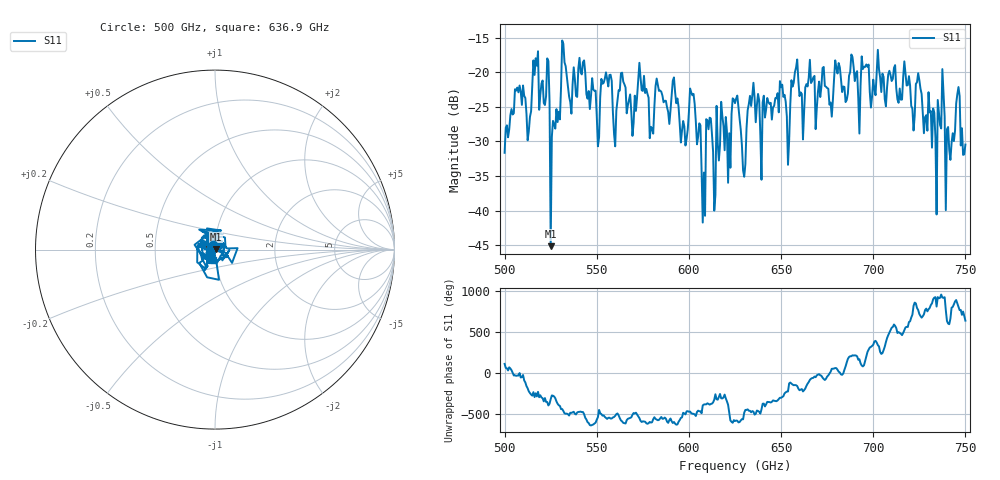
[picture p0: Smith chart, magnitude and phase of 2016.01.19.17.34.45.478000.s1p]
!Created with skrf (http://scikit-rf.org).
# GHz S RI R 50.0
!freq ReS11 ImS11
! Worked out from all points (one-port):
!   401 points, 500 GHz to 750 GHz, reference 50 ohm
!   lowest |S11| = -45.1 dB at 525 GHz (marker M1), VSWR 1.01, Z = 50.4 + j0.352 ohm
!   |S11| at or under -10 dB: start of sweep to end of sweep
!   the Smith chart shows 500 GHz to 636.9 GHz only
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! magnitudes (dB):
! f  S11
! 500 GHz  -31.6
! 506.9 GHz  -22.2
! 513.1 GHz  -28.5
! 516.9 GHz  -18.0
! 523.1 GHz  -18.0
! 525 GHz  -45.1
! 531.2 GHz  -15.4
! 550.6 GHz  -30.7
! 562.5 GHz  -22.7
! 593.8 GHz  -23.8
! 598.1 GHz  -30.6
! 601.9 GHz  -23.3
! 607.5 GHz  -41.7
! 610.6 GHz  -28.2
! 615 GHz  -24.9
! 625 GHz  -24.5
! 630 GHz  -35.1
! 633.8 GHz  -24.9
! 650.6 GHz  -21.8
! 653.8 GHz  -33.4
! 656.2 GHz  -22.1
! 687.5 GHz  -20.0
! 718.8 GHz  -21.9
! 733.1 GHz  -25.8
! 737.5 GHz  -19.5
! 740.6 GHz  -27.9
! 745.6 GHz  -23.2
! 750 GHz  -30.4
